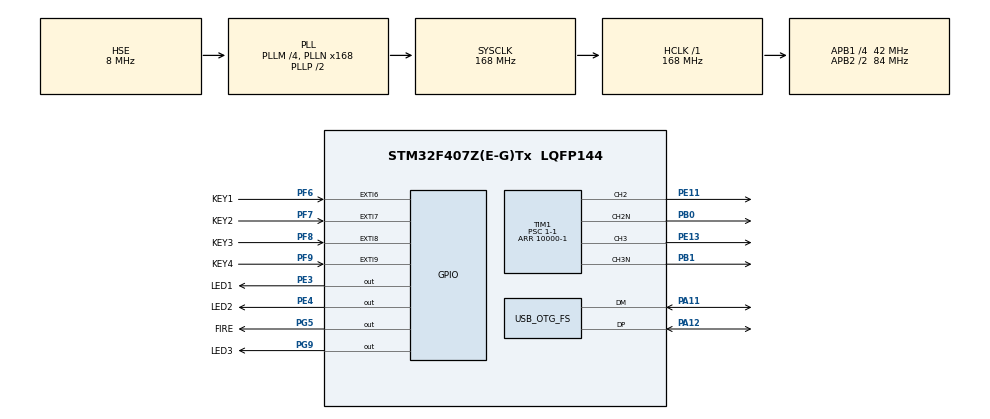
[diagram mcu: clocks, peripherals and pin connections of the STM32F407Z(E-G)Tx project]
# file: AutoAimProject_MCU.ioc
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Mcu.Family=STM32F4
Mcu.Name=STM32F407Z(E-G)Tx
Mcu.Package=LQFP144
NVIC.EXTI9_5_IRQn=true\:0\:0\:false\:false\:true
NVIC.OTG_FS_IRQn=true\:0\:0\:false\:false\:true
NVIC.PriorityGroup=NVIC_PRIORITYGROUP_4
NVIC.TIM2_IRQn=true\:0\:0\:false\:false\:true
PA11.Mode=Device_Only
PA11.Signal=USB_OTG_FS_DM
PA12.Mode=Device_Only
PA12.Signal=USB_OTG_FS_DP
PA13.Mode=JTAG_5_pins
PA13.Signal=SYS_JTMS-SWDIO
PA14.Mode=JTAG_5_pins
PA14.Signal=SYS_JTCK-SWCLK
PA15.Mode=JTAG_5_pins
PA15.Signal=SYS_JTDI
PB0.Mode=PWM Generation2 CH2 CH2N
PB0.Signal=TIM1_CH2N
PB1.Mode=PWM Generation3 CH3 CH3N
PB1.Signal=TIM1_CH3N
PB3.Mode=JTAG_5_pins
PB3.Signal=SYS_JTDO-SWO
PB4.Mode=JTAG_5_pins
PB4.Signal=SYS_JTRST
PE11.Signal=S_TIM1_CH2
PE13.Signal=S_TIM1_CH3
PE3.GPIO_Label=LED1
PE3.GPIO_ModeDefaultOutputPP=GPIO_MODE_OUTPUT_PP
PE3.GPIO_PuPd=GPIO_PULLUP
PE3.GPIO_Speed=GPIO_SPEED_FREQ_MEDIUM
PE3.PinState=GPIO_PIN_SET
PE3.Signal=GPIO_Output
PE4.GPIO_Label=LED2
PE4.GPIO_ModeDefaultOutputPP=GPIO_MODE_OUTPUT_PP
PE4.GPIO_PuPd=GPIO_PULLUP
PE4.GPIO_Speed=GPIO_SPEED_FREQ_MEDIUM
PE4.PinState=GPIO_PIN_SET
PE4.Signal=GPIO_Output
PF6.GPIO_Label=KEY1
PF6.GPIO_ModeDefaultEXTI=GPIO_MODE_IT_RISING_FALLING
PF6.GPIO_PuPd=GPIO_PULLUP
PF6.Signal=GPXTI6
PF7.GPIO_Label=KEY2
PF7.GPIO_ModeDefaultEXTI=GPIO_MODE_IT_RISING_FALLING
PF7.GPIO_PuPd=GPIO_PULLUP
PF7.Signal=GPXTI7
PF8.GPIO_Label=KEY3
PF8.GPIO_ModeDefaultEXTI=GPIO_MODE_IT_RISING_FALLING
PF8.GPIO_PuPd=GPIO_PULLUP
PF8.Signal=GPXTI8
PF9.GPIO_Label=KEY4
PF9.GPIO_ModeDefaultEXTI=GPIO_MODE_IT_RISING_FALLING
PF9.GPIO_PuPd=GPIO_PULLUP
PF9.Signal=GPXTI9
PG5.GPIO_Label=FIRE
PG5.GPIO_PuPd=GPIO_PULLDOWN
PG5.GPIO_Speed=GPIO_SPEED_FREQ_MEDIUM
PG5.Signal=GPIO_Output
PG9.GPIO_Label=LED3
PG9.GPIO_ModeDefaultOutputPP=GPIO_MODE_OUTPUT_PP
PG9.GPIO_PuPd=GPIO_PULLUP
PG9.GPIO_Speed=GPIO_SPEED_FREQ_MEDIUM
PG9.PinState=GPIO_PIN_SET
PG9.Signal=GPIO_Output
PH0-OSC_IN.Mode=HSE-External-Oscillator
PH0-OSC_IN.Signal=RCC_OSC_IN
PH1-OSC_OUT.Mode=HSE-External-Oscillator
PH1-OSC_OUT.Signal=RCC_OSC_OUT
ProjectManager.HeapSize=0x1000
ProjectManager.StackSize=0x400
ProjectManager.TargetToolchain=MDK-ARM V5
RCC.48MHZClocksFreq_Value=48000000
RCC.AHBFreq_Value=168000000
RCC.APB1CLKDivider=RCC_HCLK_DIV4
RCC.APB1Freq_Value=42000000
RCC.APB1TimFreq_Value=84000000
RCC.APB2CLKDivider=RCC_HCLK_DIV2
RCC.APB2Freq_Value=84000000
RCC.APB2TimFreq_Value=168000000
RCC.CortexFreq_Value=168000000
RCC.HCLKFreq_Value=168000000
RCC.HSE_VALUE=8000000
RCC.HSI_VALUE=16000000
RCC.LSE_VALUE=32768
RCC.PLLM=4
RCC.PLLN=168
RCC.PLLQ=7
RCC.SYSCLKFreq_VALUE=168000000
RCC.SYSCLKSource=RCC_SYSCLKSOURCE_PLLCLK
RCC.VCOOutputFreq_Value=336000000
SH.S_TIM1_CH2.0=TIM1_CH2,PWM Generation2 CH2 CH2N
SH.S_TIM1_CH3.0=TIM1_CH3,PWM Generation3 CH3 CH3N
TIM1.AutomaticOutput=TIM_AUTOMATICOUTPUT_DISABLE
TIM1.BreakState=TIM_BREAK_DISABLE
TIM1.Channel-PWM\ Generation2\ CH2\ CH2N=TIM_CHANNEL_2
TIM1.Channel-PWM\ Generation3\ CH3\ CH3N=TIM_CHANNEL_3
TIM1.CounterMode=TIM_COUNTERMODE_UP
TIM1.Period=10000-1
TIM1.Prescaler=1-1
TIM1.Pulse-PWM\ Generation2\ CH2\ CH2N=5000
TIM2.Period=5000-1
TIM2.Prescaler=84-1
USB_DEVICE.CLASS_NAME-CDC_FS=CDC
USB_DEVICE.CLASS_NAME_FS=CDC
USB_DEVICE.USBD_HandleTypeDef-CDC_FS=hUsbDeviceFS
USB_DEVICE.VirtualMode-CDC_FS=Cdc
USB_DEVICE.VirtualModeFS=Cdc_FS
USB_OTG_FS.VirtualMode=Device_Only
USB_OTG_FS.vbus_sensing_enable=DISABLE
VP_TIM2_VS_ClockSourceINT.Mode=Internal
VP_USB_DEVICE_VS_USB_DEVICE_CDC_FS.Mode=CDC_FS
board=AutoAimProject_MCU

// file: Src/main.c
/**
  ******************************************************************************
  * File Name          : main.c
  * Description        : Main program body
  ******************************************************************************
  *
  * Copyright (c) 2016 STMicroelectronics International N.V.
  * All rights reserved.
  *
  * Redistribution and use in source and binary forms, with or without
  * modification, are permitted, provided that the following conditions are met:
  *
  * 1. Redistribution of source code must retain the above copyright notice,
  *    this list of conditions and the following disclaimer.
  * 2. Redistributions in binary form must reproduce the above copyright notice,
  *    this list of conditions and the following disclaimer in the documentation
  *    and/or other materials provided with the distribution.
  * 3. Neither the name of STMicroelectronics nor the names of other
  *    contributors to this software may be used to endorse or promote products
  *    derived from this software without specific written permission.
  * 4. This software, including modifications and/or derivative works of this
  *    software, must execute solely and exclusively on microcontroller or
  *    microprocessor devices manufactured by or for STMicroelectronics.
  * 5. Redistribution and use of this software other than as permitted under
  *    this license is void and will automatically terminate your rights under
  *    this license.
  *
  * THIS SOFTWARE IS PROVIDED BY STMICROELECTRONICS AND CONTRIBUTORS "AS IS"
  * AND ANY EXPRESS, IMPLIED OR STATUTORY WARRANTIES, INCLUDING, BUT NOT
  * LIMITED TO, THE IMPLIED WARRANTIES OF MERCHANTABILITY, FITNESS FOR A
  * PARTICULAR PURPOSE AND NON-INFRINGEMENT OF THIRD PARTY INTELLECTUAL PROPERTY
  * RIGHTS ARE DISCLAIMED TO THE FULLEST EXTENT PERMITTED BY LAW. IN NO EVENT
  * SHALL STMICROELECTRONICS OR CONTRIBUTORS BE LIABLE FOR ANY DIRECT, INDIRECT,
  * INCIDENTAL, SPECIAL, EXEMPLARY, OR CONSEQUENTIAL DAMAGES (INCLUDING, BUT NOT
  * LIMITED TO, PROCUREMENT OF SUBSTITUTE GOODS OR SERVICES; LOSS OF USE, DATA,
  * OR PROFITS; OR BUSINESS INTERRUPTION) HOWEVER CAUSED AND ON ANY THEORY OF
  * LIABILITY, WHETHER IN CONTRACT, STRICT LIABILITY, OR TORT (INCLUDING
  * NEGLIGENCE OR OTHERWISE) ARISING IN ANY WAY OUT OF THE USE OF THIS SOFTWARE,
  * EVEN IF ADVISED OF THE POSSIBILITY OF SUCH DAMAGE.
  *
  ******************************************************************************
  */
#include "main.h"
#include "stm32f4xx_hal.h"
#include "tim.h"
#include "usb_device.h"
#include "gpio.h"

/* USER CODE BEGIN Includes */
#include "usbd_cdc.h"
#include "usbd_cdc_if.h"
#include "my_pid.h"
#define XLDEAD 180  //left
#define XRDEAD 200  //right
#define YUDEAD 0  //up
#define YDDEAD 0  //down
#define XMAX 600
#define XMIN -750
#define YMAX 1000
#define YMIN -1000
#define MANUALDELAY 2
/* USER CODE END Includes */

/* USER CODE BEGIN PV */
/* Private variables ---------------------------------------------------------*/
typedef struct
{
    int xError;
    int yError;
    _Bool fireflag;
    _Bool manualflag;
} MotorState;
MotorState mstate = {0, 0, 0};
uint8_t UserTxBuffer[] = "#00000000";
static int XPWM = 0, YPWM = 0;//CH2 CH3
static pid_instance XPID;
static pid_instance YPID;
static int XPIDout = 0;
static int YPIDout = 0;
static float p = 0, i = 0, d = 0;
int period = 0;
int manualdelay = 0;

/* USER CODE END PV */

void SystemClock_Config(void);
void Error_Handler(void);

/* USER CODE BEGIN PFP */
/* Private function prototypes -----------------------------------------------*/
void SystemClock_Config(void);
void Error_Handler(void);
void ManualControl(char dir);
/* USER CODE END PFP */

/* USER CODE BEGIN 0 */
/* protocal */
//length=9
//error: "@+000-000" x/y
//fire: "!+000-000"
//PID: "P00I00D00"
//manual: "[LLLLLLL]"  L/R/U/D
/* protocal */
MotorState GetStates(uint8_t * RecieveData)
{
    MotorState mstemp = {0, 0, 0, 0};

    if(mstate.fireflag && manualdelay)
    {
        mstemp.fireflag = 1;
    }

    if(RecieveData[0] == '@' || RecieveData[0] == '!') //error
    {
        mstemp.xError = (RecieveData[2] - 48) * 100 + (RecieveData[3] - 48) * 10 + (RecieveData[4] - 48);

        if(RecieveData[1] == '-')
        {
            mstemp.xError = mstemp.xError * (-1);
        }

        mstemp.yError = (RecieveData[6] - 48) * 100 + (RecieveData[7] - 48) * 10 + (RecieveData[8] - 48);

        if(RecieveData[5] == '-')
        {
            mstemp.yError = mstemp.yError * (-1);
        }

        if(RecieveData[0] == '!')//fire
        {
            manualdelay = 10;
            mstemp.fireflag = 1;
        }
    }

    else if(RecieveData[0] == 'P')//PID parameter
    {
        p = (RecieveData[1] - 48)   + (RecieveData[2] - 48) * 0.1;
        i = (RecieveData[4] - 48) * 0.01   + (RecieveData[5] - 48) * 0.001;
        d = (RecieveData[7] - 48)   + (RecieveData[8] - 48) * 0.1;
    }

    else if(RecieveData[0] == '[') //manual
    {
        if(!mstate.manualflag)
            manualdelay = MANUALDELAY;

        mstemp.manualflag = 1;
        ManualControl(RecieveData[4]);

        if(!manualdelay)
            memset(RecieveData, 0, 9);
    }

    //memset(RecieveData, 0, 9);

    return mstemp;
}

void ManualControl(char dir)
{
    PID_SetParam(&XPID, p, i, d, XIntegralMAX, XIntegralMIN, 1);
    PID_SetParam(&YPID, p, i, d, YIntegralMAX, YIntegralMIN, 1);

    switch(dir)
    {
    case 'L':
        XPIDout = 500;
        break;

    case 'R':
        XPIDout = -600;
        break;

    case 'U':
        YPIDout = 1000;
        break;

    case 'D':
        YPIDout = -500;
        break;

    }
}

void MotorTest(uint8_t * RecieveData)
{
    int lpwm, rpwm;

    if(RecieveData[0] == '#')
    {
        lpwm = RecieveData[1] * 1000 + RecieveData[2] * 100 + RecieveData[3] * 10 + RecieveData[4];
        rpwm = RecieveData[5] * 1000 + RecieveData[6] * 100 + RecieveData[7] * 10 + RecieveData[8];
    }

    USER_TIM1_SetPWM(TIM_CHANNEL_2, lpwm);
    USER_TIM1_SetPWM(TIM_CHANNEL_3, rpwm);
}
void SetUserTxBuffer(int l, int r)
{
    UserTxBuffer[0] = '#';
    UserTxBuffer[1] = l / 1000 + 48;
    UserTxBuffer[2] = (l % 1000) / 100 + 48;
    UserTxBuffer[3] = (l % 100) / 10 + 48;
    UserTxBuffer[4] = (l % 10) + 48;
    UserTxBuffer[5] = r / 1000 + 48;
    UserTxBuffer[6] = (r % 1000) / 100 + 48;
    UserTxBuffer[7] = (r % 100) / 10 + 48;
    UserTxBuffer[8] = (r % 10) + 48;
}
/* USER CODE END 0 */

int main(void)
{

    /* MCU Configuration----------------------------------------------------------*/

    /* Reset of all peripherals, Initializes the Flash interface and the Systick. */
    HAL_Init();

    /* Configure the system clock */
    SystemClock_Config();

    /* Initialize all configured peripherals */
    MX_GPIO_Init();
    MX_USB_DEVICE_Init();
    MX_TIM1_Init();
    MX_TIM2_Init();

    /* USER CODE BEGIN 2 */
    PID_SetParam(&XPID, p, i, d, XIntegralMAX, XIntegralMIN, 1);
    PID_SetParam(&YPID, p, i, d, YIntegralMAX, YIntegralMIN, 1);
    HAL_TIM_Base_Start_IT(&htim2);
    /* USER CODE END 2 */

    /* Infinite loop */
    while(1)
    {

    }

}

/** System Clock Configuration
*/
void SystemClock_Config(void)
{

    RCC_OscInitTypeDef RCC_OscInitStruct;
    RCC_ClkInitTypeDef RCC_ClkInitStruct;

    /**Configure the main internal regulator output voltage
    */
    __HAL_RCC_PWR_CLK_ENABLE();

    __HAL_PWR_VOLTAGESCALING_CONFIG(PWR_REGULATOR_VOLTAGE_SCALE1);

    /**Initializes the CPU, AHB and APB busses clocks
    */
    RCC_OscInitStruct.OscillatorType = RCC_OSCILLATORTYPE_HSE;
    RCC_OscInitStruct.HSEState = RCC_HSE_ON;
    RCC_OscInitStruct.PLL.PLLState = RCC_PLL_ON;
    RCC_OscInitStruct.PLL.PLLSource = RCC_PLLSOURCE_HSE;
    RCC_OscInitStruct.PLL.PLLM = 4;
    RCC_OscInitStruct.PLL.PLLN = 168;
    RCC_OscInitStruct.PLL.PLLP = RCC_PLLP_DIV2;
    RCC_OscInitStruct.PLL.PLLQ = 7;

    if(HAL_RCC_OscConfig(&RCC_OscInitStruct) != HAL_OK)
    {
        Error_Handler();
    }

    /**Initializes the CPU, AHB and APB busses clocks
    */
    RCC_ClkInitStruct.ClockType = RCC_CLOCKTYPE_HCLK | RCC_CLOCKTYPE_SYSCLK
                                  | RCC_CLOCKTYPE_PCLK1 | RCC_CLOCKTYPE_PCLK2;
    RCC_ClkInitStruct.SYSCLKSource = RCC_SYSCLKSOURCE_PLLCLK;
    RCC_ClkInitStruct.AHBCLKDivider = RCC_SYSCLK_DIV1;
    RCC_ClkInitStruct.APB1CLKDivider = RCC_HCLK_DIV4;
    RCC_ClkInitStruct.APB2CLKDivider = RCC_HCLK_DIV2;

    if(HAL_RCC_ClockConfig(&RCC_ClkInitStruct, FLASH_LATENCY_5) != HAL_OK)
    {
        Error_Handler();
    }

    /**Configure the Systick interrupt time
    */
    HAL_SYSTICK_Config(HAL_RCC_GetHCLKFreq() / 1000);

    /**Configure the Systick
    */
    HAL_SYSTICK_CLKSourceConfig(SYSTICK_CLKSOURCE_HCLK);

    /* SysTick_IRQn interrupt configuration */
    HAL_NVIC_SetPriority(SysTick_IRQn, 0, 0);
}

/* USER CODE BEGIN 4 */

void HAL_GPIO_EXTI_Callback(uint16_t GPIO_Pin)
{
    if(!HAL_GPIO_ReadPin(KEY1_GPIO_Port, GPIO_Pin))
    {
        if(GPIO_Pin == KEY1_Pin)
        {
            CDC_Transmit_FS(UserTxBuffer, sizeof(UserTxBuffer));
            HAL_GPIO_TogglePin(LED1_GPIO_Port, LED1_Pin);
            USER_TIM1_SetPWM(TIM_CHANNEL_2, 5400);
        }

        if(GPIO_Pin == KEY2_Pin)
        {
            USER_TIM1_SetPWM(TIM_CHANNEL_2, 4600);
            HAL_GPIO_TogglePin(LED1_GPIO_Port, LED1_Pin);
        }

        if(GPIO_Pin == KEY3_Pin)
        {
            USER_TIM1_SetPWM(TIM_CHANNEL_3, 2800);
            HAL_GPIO_TogglePin(LED2_GPIO_Port, LED2_Pin);
        }

        if(GPIO_Pin == KEY4_Pin)
        {
            USER_TIM1_SetPWM(TIM_CHANNEL_3, 5300);
            HAL_GPIO_TogglePin(LED2_GPIO_Port, LED2_Pin);
        }
    }

    else if(HAL_GPIO_ReadPin(KEY1_GPIO_Port, GPIO_Pin))
    {
        USER_TIM1_SetPWM(TIM_CHANNEL_2, 5000);
        USER_TIM1_SetPWM(TIM_CHANNEL_3, 4000);
    }
}

void HAL_TIM_PeriodElapsedCallback(TIM_HandleTypeDef *htim)
{
    if(htim->Instance == TIM2)
    {
        if(period == 1)
        {
            if(manualdelay > 0)
                manualdelay--;

            XPIDout = 0;
            YPIDout = 0;
            mstate = GetStates(UserRxData);
            PID_SetParam(&XPID, p, i, d, XIntegralMAX, XIntegralMIN, 0);
            PID_SetParam(&YPID, p, i, d, YIntegralMAX, YIntegralMIN, 0);

            if(!mstate.manualflag)
            {
                XPIDout = PID_Control(&XPID, mstate.xError);
                YPIDout = PID_Control(&YPID, mstate.yError);
            }

        }

        if(period == 2)
        {
            XPIDout += XPIDout > 0 ? XLDEAD : 0;

            XPIDout -= XPIDout < 0 ? XRDEAD : 0;

            YPIDout += YPIDout > 0 ? YUDEAD : 0;

            YPIDout -= YPIDout < 0 ? YDDEAD : 0;

            XPIDout = XPIDout > XMAX ? XMAX : XPIDout;

            XPIDout = XPIDout < XMIN ? XMIN : XPIDout;

            YPIDout = YPIDout > YMAX ? YMAX : YPIDout;

            YPIDout = YPIDout < YMIN ? YMIN : YPIDout;

            XPWM = 5000 + XPIDout;
            YPWM = 5000 + YPIDout;

            USER_TIM1_SetPWM(TIM_CHANNEL_2, XPWM);
            USER_TIM1_SetPWM(TIM_CHANNEL_3, YPWM);

            if(mstate.fireflag)
            {
                HAL_GPIO_WritePin(FIRE_GPIO_Port, FIRE_Pin, GPIO_PIN_SET);
            }

            else
            {
                HAL_GPIO_WritePin(FIRE_GPIO_Port, FIRE_Pin, GPIO_PIN_RESET);
            }
        }

        if(period >= 3)
        {
            SetUserTxBuffer((int)XPWM, (int)YPWM);
            CDC_Transmit_FS(UserTxBuffer, sizeof(UserTxBuffer));
            period = 0;
        }

        period++;
    }
}

/* USER CODE END 4 */

void Error_Handler(void)
{
    while(1)
    {
    }
}

/************************ (C) COPYRIGHT STMicroelectronics *****END OF FILE****/
